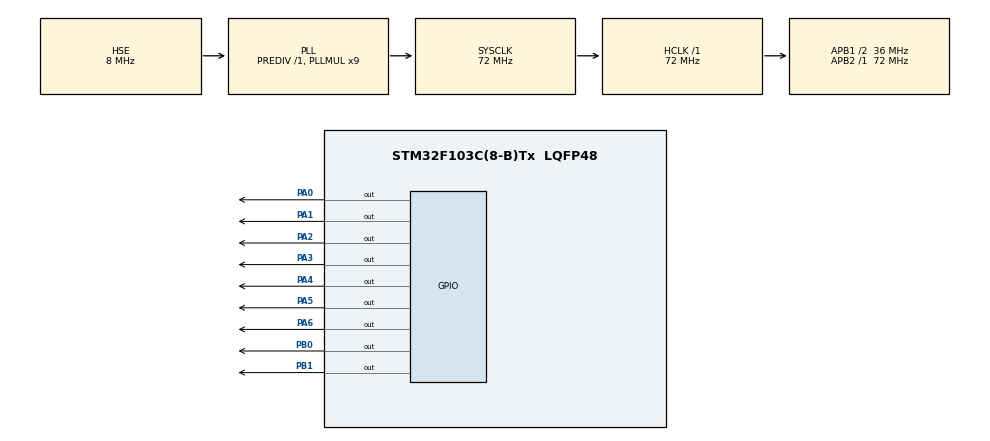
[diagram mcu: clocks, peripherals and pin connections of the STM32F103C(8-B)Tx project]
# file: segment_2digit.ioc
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Mcu.Family=STM32F1
Mcu.Name=STM32F103C(8-B)Tx
Mcu.Package=LQFP48
NVIC.PriorityGroup=NVIC_PRIORITYGROUP_4
PA0-WKUP.Signal=GPIO_Output
PA1.Signal=GPIO_Output
PA13.Mode=Serial_Wire
PA13.Signal=SYS_JTMS-SWDIO
PA14.Mode=Serial_Wire
PA14.Signal=SYS_JTCK-SWCLK
PA2.Signal=GPIO_Output
PA3.Signal=GPIO_Output
PA4.Signal=GPIO_Output
PA5.Signal=GPIO_Output
PA6.Signal=GPIO_Output
PB0.Signal=GPIO_Output
PB1.Signal=GPIO_Output
PD0-OSC_IN.Mode=HSE-External-Oscillator
PD0-OSC_IN.Signal=RCC_OSC_IN
PD1-OSC_OUT.Mode=HSE-External-Oscillator
PD1-OSC_OUT.Signal=RCC_OSC_OUT
ProjectManager.HeapSize=0x200
ProjectManager.StackSize=0x400
ProjectManager.TargetToolchain=STM32CubeIDE
RCC.AHBFreq_Value=72000000
RCC.APB1CLKDivider=RCC_HCLK_DIV2
RCC.APB1Freq_Value=36000000
RCC.APB1TimFreq_Value=72000000
RCC.APB2Freq_Value=72000000
RCC.APB2TimFreq_Value=72000000
RCC.HCLKFreq_Value=72000000
RCC.PLLMUL=RCC_PLL_MUL9
RCC.PLLSourceVirtual=RCC_PLLSOURCE_HSE
RCC.SYSCLKFreq_VALUE=72000000
RCC.SYSCLKSource=RCC_SYSCLKSOURCE_PLLCLK
RCC.USBFreq_Value=72000000
board=custom

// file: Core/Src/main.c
/* USER CODE BEGIN Header */
/**
  ******************************************************************************
  * @file           : main.c
  * @brief          : Main program body
  ******************************************************************************
  * @attention
  *
  * Copyright (c) 2024 STMicroelectronics.
  * All rights reserved.
  *
  * This software is licensed under terms that can be found in the LICENSE file
  * in the root directory of this software component.
  * If no LICENSE file comes with this software, it is provided AS-IS.
  *
  ******************************************************************************
  */
/* USER CODE END Header */
#include "main.h"

/* USER CODE BEGIN PD */
#define segA GPIO_PIN_0
#define segB GPIO_PIN_1
#define segC GPIO_PIN_2
#define segD GPIO_PIN_3
#define segE GPIO_PIN_4
#define segF GPIO_PIN_5
#define segG GPIO_PIN_6
#define dig1 GPIO_PIN_1
#define dig2 GPIO_PIN_0
/* USER CODE END PD */

void SystemClock_Config(void);
static void MX_GPIO_Init(void);

/* USER CODE BEGIN 0 */
uint8_t numbers[10][7] = {
    {1,1,1,1,1,1,0}, // 0
    {0,1,1,0,0,0,0}, // 1
    {1,1,0,1,1,0,1}, // 2
    {1,1,1,1,0,0,1}, // 3
    {0,1,1,0,0,1,1}, // 4
    {1,0,1,1,0,1,1}, // 5
    {1,0,1,1,1,1,1}, // 6
    {1,1,1,0,0,0,0}, // 7
    {1,1,1,1,1,1,1}, // 8
    {1,1,1,1,0,1,1}  // 9
};
uint16_t segmentPins[7] = {segA, segB, segC, segD, segE, segF, segG};
uint16_t digitPins[2] = {dig1, dig2};

void DisplayNumberOnDigit(uint8_t number, uint16_t digitPin) {

    HAL_GPIO_WritePin(GPIOB, digitPins[0], GPIO_PIN_SET);
    HAL_GPIO_WritePin(GPIOB, digitPins[1], GPIO_PIN_SET);

    for (int i = 0; i < 7; i++) {
        HAL_GPIO_WritePin(GPIOA, segmentPins[i], numbers[number][i] ? GPIO_PIN_SET : GPIO_PIN_RESET); // Invert logic if needed
    }
    HAL_GPIO_WritePin(GPIOB, digitPin, GPIO_PIN_RESET);
}
/* USER CODE END 0 */

int main(void)
{

  /* MCU Configuration--------------------------------------------------------*/

  /* Reset of all peripherals, Initializes the Flash interface and the Systick. */
  HAL_Init();

  /* Configure the system clock */
  SystemClock_Config();

  /* Initialize all configured peripherals */
  MX_GPIO_Init();
  /* USER CODE BEGIN 2 */
  uint8_t counter = 0;
  /* USER CODE END 2 */

  /* Infinite loop */
  while (1)
  {

    /* USER CODE BEGIN 3 */
	 uint8_t digit1 = counter / 10;
	 uint8_t digit2 = counter % 10;

	 for (int i = 0; i < 50; i++) {
		 DisplayNumberOnDigit(digit1, digitPins[0]);
		 HAL_Delay(5);
		 DisplayNumberOnDigit(digit2, digitPins[1]);
		 HAL_Delay(5);
	 }

	 counter = (counter + 1) % 100;
  }
  /* USER CODE END 3 */
}

void SystemClock_Config(void)
{
  RCC_OscInitTypeDef RCC_OscInitStruct = {0};
  RCC_ClkInitTypeDef RCC_ClkInitStruct = {0};

  /** Initializes the RCC Oscillators according to the specified parameters
  * in the RCC_OscInitTypeDef structure.
  */
  RCC_OscInitStruct.OscillatorType = RCC_OSCILLATORTYPE_HSE;
  RCC_OscInitStruct.HSEState = RCC_HSE_ON;
  RCC_OscInitStruct.HSEPredivValue = RCC_HSE_PREDIV_DIV1;
  RCC_OscInitStruct.HSIState = RCC_HSI_ON;
  RCC_OscInitStruct.PLL.PLLState = RCC_PLL_ON;
  RCC_OscInitStruct.PLL.PLLSource = RCC_PLLSOURCE_HSE;
  RCC_OscInitStruct.PLL.PLLMUL = RCC_PLL_MUL9;
  if (HAL_RCC_OscConfig(&RCC_OscInitStruct) != HAL_OK)
  {
    Error_Handler();
  }

  /** Initializes the CPU, AHB and APB buses clocks
  */
  RCC_ClkInitStruct.ClockType = RCC_CLOCKTYPE_HCLK|RCC_CLOCKTYPE_SYSCLK
                              |RCC_CLOCKTYPE_PCLK1|RCC_CLOCKTYPE_PCLK2;
  RCC_ClkInitStruct.SYSCLKSource = RCC_SYSCLKSOURCE_PLLCLK;
  RCC_ClkInitStruct.AHBCLKDivider = RCC_SYSCLK_DIV1;
  RCC_ClkInitStruct.APB1CLKDivider = RCC_HCLK_DIV2;
  RCC_ClkInitStruct.APB2CLKDivider = RCC_HCLK_DIV1;

  if (HAL_RCC_ClockConfig(&RCC_ClkInitStruct, FLASH_LATENCY_2) != HAL_OK)
  {
    Error_Handler();
  }
}

static void MX_GPIO_Init(void)
{
  GPIO_InitTypeDef GPIO_InitStruct = {0};

  /* GPIO Ports Clock Enable */
  __HAL_RCC_GPIOD_CLK_ENABLE();
  __HAL_RCC_GPIOA_CLK_ENABLE();
  __HAL_RCC_GPIOB_CLK_ENABLE();

  /*Configure GPIO pin Output Level */
  HAL_GPIO_WritePin(GPIOA, GPIO_PIN_0|GPIO_PIN_1|GPIO_PIN_2|GPIO_PIN_3
                          |GPIO_PIN_4|GPIO_PIN_5|GPIO_PIN_6, GPIO_PIN_RESET);

  /*Configure GPIO pin Output Level */
  HAL_GPIO_WritePin(GPIOB, GPIO_PIN_0|GPIO_PIN_1, GPIO_PIN_RESET);

  /*Configure GPIO pins : PA0 PA1 PA2 PA3
                           PA4 PA5 PA6 */
  GPIO_InitStruct.Pin = GPIO_PIN_0|GPIO_PIN_1|GPIO_PIN_2|GPIO_PIN_3
                          |GPIO_PIN_4|GPIO_PIN_5|GPIO_PIN_6;
  GPIO_InitStruct.Mode = GPIO_MODE_OUTPUT_PP;
  GPIO_InitStruct.Pull = GPIO_NOPULL;
  GPIO_InitStruct.Speed = GPIO_SPEED_FREQ_LOW;
  HAL_GPIO_Init(GPIOA, &GPIO_InitStruct);

  /*Configure GPIO pins : PB0 PB1 */
  GPIO_InitStruct.Pin = GPIO_PIN_0|GPIO_PIN_1;
  GPIO_InitStruct.Mode = GPIO_MODE_OUTPUT_PP;
  GPIO_InitStruct.Pull = GPIO_NOPULL;
  GPIO_InitStruct.Speed = GPIO_SPEED_FREQ_LOW;
  HAL_GPIO_Init(GPIOB, &GPIO_InitStruct);

}

void Error_Handler(void)
{
  __disable_irq();
  while (1)
  {
  }
}
